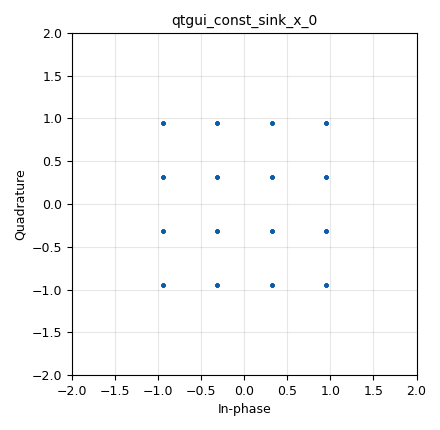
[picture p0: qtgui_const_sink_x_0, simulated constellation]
options:
  parameters:
    generate_options: qt_gui
    id: qam16_flowgraph
    output_language: python
    title: qam16_modulation
  states: {}

blocks:
- name: samp_rate
  id: variable
  parameters:
    value: '32000'
  states: {}
- name: blocks_throttle2_0
  id: blocks_throttle2
  parameters:
    samples_per_second: samp_rate
    type: complex
  states: {}
- name: blocks_vector_source_x_0
  id: blocks_vector_source_x
  parameters:
    repeat: 'True'
    type: byte
    vector: '[0, 1, 2, 3, 4, 5, 6, 7, 8, 9, 10, 11, 12, 13, 14, 15]'
  states: {}
- name: epy_block_0
  id: epy_block
  parameters:
    _source_code: |-
      """
      Embedded Python Block - 16-QAM Modulator
      Convertit des symboles (0 à 15) en symboles 16-QAM
      """

      import numpy as np
      from gnuradio import gr

      class blk(gr.sync_block):
          """Bloc de modulation 16-QAM"""

          def __init__(self):
              gr.sync_block.__init__(
                  self,
                  name='16-QAM Modulator',
                  in_sig=[np.uint8],
                  out_sig=[np.complex64]
              )

          def work(self, input_items, output_items):
              """Convertit les symboles en 16-QAM"""
              symbols = input_items[0]
              out = output_items[0]
              
              # Niveaux d'amplitude pour 16-QAM
              # -3, -1, +1, +3
              # Normalisés pour avoir une puissance moyenne = 1
              levels = [-3.0, -1.0, 1.0, 3.0]
              
              # Table de mapping 16-QAM (grille 4x4)
              # Chaque symbole (0-15) correspond à une combinaison (I, Q)
              constellation = []
              for i in range(4):      # Pour chaque niveau I
                  for q in range(4):  # Pour chaque niveau Q
                      constellation.append(complex(levels[i], levels[q]))
              
              # Normalisation (puissance moyenne = 1)
              constellation = np.array(constellation) / np.sqrt(10.0)
              
              for i in range(len(symbols)):
                  sym = symbols[i] % 16
                  out[i] = constellation[sym]
              
              return len(symbols)
  states: {}
- name: qtgui_const_sink_x_0
  id: qtgui_const_sink_x
  parameters:
    size: '1024'
    type: complex
  states: {}

connections:
- [blocks_throttle2_0, '0', qtgui_const_sink_x_0, '0']
- [blocks_vector_source_x_0, '0', epy_block_0, '0']
- [epy_block_0, '0', blocks_throttle2_0, '0']

metadata:
  file_format: 1
  grc_version: 3.10.12.0
